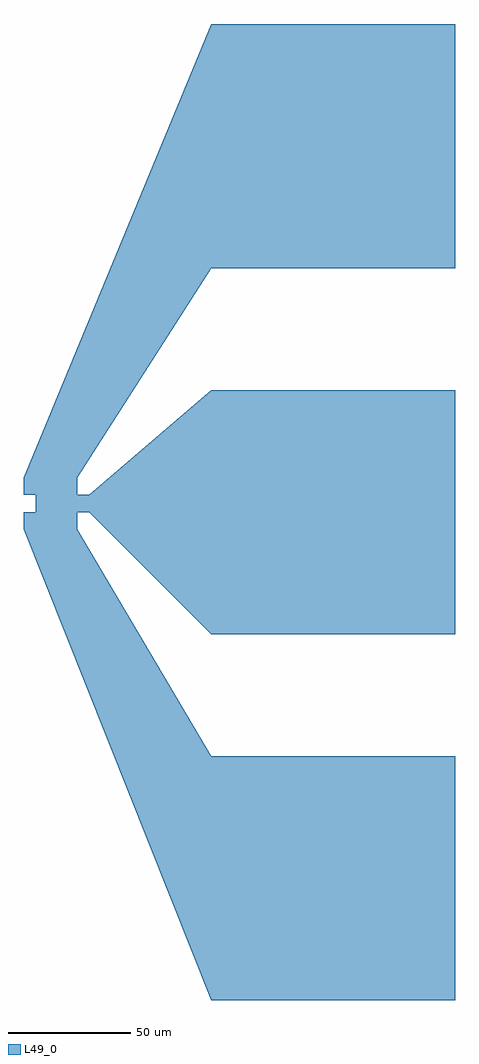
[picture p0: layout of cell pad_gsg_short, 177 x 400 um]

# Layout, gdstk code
import gdstk
lib = gdstk.Library(unit=1e-6, precision=1e-09)
def R(c, l, rs):  # rectangles x0, y0, x1, y1
    for r in rs: c.add(gdstk.rectangle(r[:2], r[2:], *l))
def P(c, l, *ps):  # polygons
    for p in ps: c.add(gdstk.Polygon(p, *l))
L49_0 = (49, 0)

compass_d50313ab = lib.new_cell('compass_d50313ab')
R(compass_d50313ab, L49_0, [(-11,-3.5,11,3.5)])

rectangle_layer49__0_siz = lib.new_cell('rectangle_layer49__0_size22__7')
rectangle_layer49__0_siz.add(gdstk.Reference(compass_d50313ab, (11,3.5)))

compass_layerm3_size22p0 = lib.new_cell('compass_layerM3_size22p0__7p0')
R(compass_layerm3_size22p0, L49_0, [(-11,-3.5,11,3.5)])

rectangle_layerm3_size22 = lib.new_cell('rectangle_layerM3_size22__7')
rectangle_layerm3_size22.add(gdstk.Reference(compass_layerm3_size22p0, (11,3.5)))

compass_642a0e00 = lib.new_cell('compass_642a0e00')
R(compass_642a0e00, L49_0, [(-50,-50,50,50)])

pad = lib.new_cell('pad')
pad.add(gdstk.Reference(compass_642a0e00, (0,0)))

array_6c5af6c0 = lib.new_cell('array_6c5af6c0')
r = gdstk.Reference(pad, (0,0)); r.repetition = gdstk.Repetition(1, 3, v1=(1,0), v2=(0,150)); array_6c5af6c0.add(r)

route_quad_4888b91d = lib.new_cell('route_quad_4888b91d')
P(route_quad_4888b91d, L49_0, [(-5,-7),(17,-7),(72,-100),(72,-200)])

route_quad_677eb3b4 = lib.new_cell('route_quad_677eb3b4')
P(route_quad_677eb3b4, L49_0, [(17,14),(-5,14),(72,200),(72,100)])

route_quad_b336eef9 = lib.new_cell('route_quad_b336eef9')
P(route_quad_b336eef9, L49_0, [(22,0),(22,7),(72,50),(72,-50)])

pad_gsg_short = lib.new_cell('pad_gsg_short')
pad_gsg_short.add(gdstk.Reference(rectangle_layer49__0_siz, (-5,7)))
pad_gsg_short.add(gdstk.Reference(rectangle_layerm3_size22, (0,0)))
pad_gsg_short.add(gdstk.Reference(rectangle_layer49__0_siz, (-5,-7)))
pad_gsg_short.add(gdstk.Reference(array_6c5af6c0, (122,-150)))
pad_gsg_short.add(gdstk.Reference(route_quad_4888b91d, (0,0)))
pad_gsg_short.add(gdstk.Reference(route_quad_677eb3b4, (0,0)))
pad_gsg_short.add(gdstk.Reference(route_quad_b336eef9, (0,0)))

lib.write_gds('pad_gsg_short.gds')
